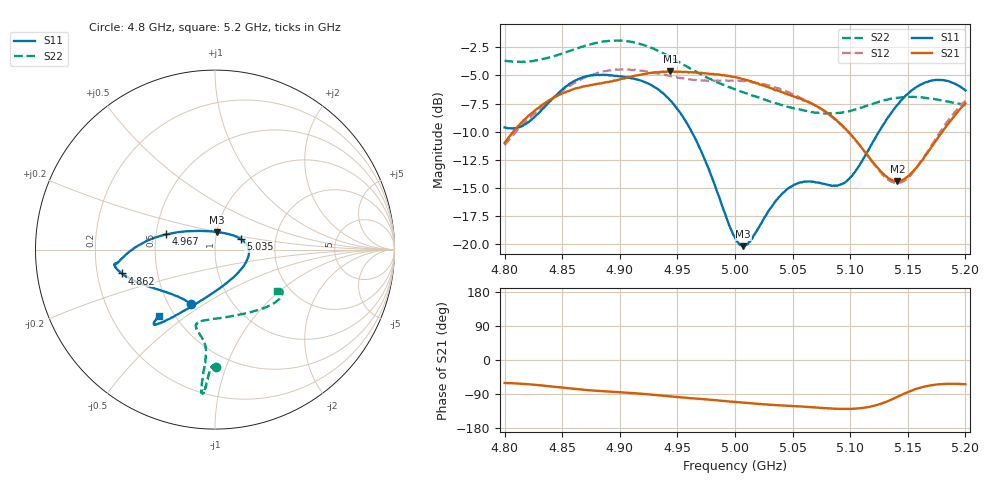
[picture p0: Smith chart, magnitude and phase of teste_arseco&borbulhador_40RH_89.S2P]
! Network Analyzer HP8722D
! Hewlett-Packard
! Data name: Linha & Wilkinson
! Saver's name: Rodrigo Anjos
! Comments: Teste da utilização de aquisição
! continua pelo VNA HP8722D
! Time and date: 15/4/2025 17:05
!  Frequency  S11  S21  S12  S22
# HZ  S  MA R 50
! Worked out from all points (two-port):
!   401 points, 4.8 GHz to 5.2 GHz, reference 50 ohm
!   highest |S21| = -4.63 dB at 4.944 GHz (marker M1); lowest = -14.4 dB at 5.141 GHz (marker M2)
!   |S21| within 3 dB of the highest: 4.832 GHz to 5.069 GHz (236.9 MHz wide, 4.79 % of centre); 5.198605 GHz to end of sweep
!   lowest |S11| = -20.2 dB at 5.007 GHz (marker M3), VSWR 1.22, Z = 50.1 + j9.87 ohm
!   |S11| at or under -10 dB: 4.962 GHz to 5.125 GHz (162.6 MHz wide, 3.22 % of centre)
!   |S22| runs from -8.4 to -1.9 dB; largest |S21 - S12| = 0.88
!   S11 on the Smith chart (normalised r, x): 4.8 GHz: 0.65, -0.44; 4.862 GHz: 0.31, -0.11; 4.967 GHz: 0.57, +0.10; 5.035 GHz: 1.32, +0.16; 5.2 GHz: 0.41, -0.40
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4.8e9  0.3306 -113.7  0.2822 -60.6  0.2754 -175.0  0.6543 -89.5
4.819e9  0.3445 -133.5  0.3649 -63.6  0.3527 -173.2  0.6483 -91.1
4.862e9  0.5358 -165.6  0.4936 -76.6  0.5256 -176.3  0.7405 -93.5
4.867e9  0.549 -167.5  0.501 -78.3  0.5422 -177.2  0.7543 -93.6
4.9e9  0.5574 -172.0  0.5404 -85.0  0.5979 175.9  0.8028 -95.0
4.934e9  0.4852 -177.9  0.5807 -93.3  0.5733 171.8  0.7194 -95.5
4.944e9  0.4351 177.6  0.5869 -96.1  0.5588 172.2  0.6789 -95.3
4.967e9  0.2845 162.7  0.5777 -102.0  0.5352 174.0  0.5807 -94.9
5e9  0.1072 107.3  0.5531 -110.9  0.5336 176.5  0.4882 -99.2
5.007e9  0.09812 83.5  0.5415 -112.5  0.5302 176.5  0.4733 -100.9
5.013e9  0.1028 64.5  0.5303 -114.2  0.5269 176.4  0.4626 -102.2
5.035e9  0.155 23.0  0.4838 -119.0  0.4975 175.1  0.4236 -103.8
5.05e9  0.182 7.2  0.4564 -121.6  0.4647 174.4  0.403 -100.4
5.067e9  0.1901 -11.2  0.4208 -124.6  0.4215 174.1  0.3869 -91.9
5.086e9  0.1825 -41.8  0.3644 -128.4  0.361 173.8  0.3817 -77.8
5.097e9  0.1907 -64.9  0.3214 -129.1  0.3217 174.6  0.3886 -68.5
5.134e9  0.3731 -116.0  0.1958 -106.7  0.1919 -159.6  0.4416 -43.4
5.141e9  0.4163 -119.9  0.1909 -96.9  0.1873 -148.8  0.4476 -40.2
5.153e9  0.4812 -124.9  0.2068 -81.0  0.2041 -130.0  0.4517 -35.9
5.17e9  0.5326 -128.5  0.2678 -66.9  0.2726 -112.9  0.4439 -32.0
5.184e9  0.5323 -129.8  0.3385 -62.9  0.3489 -107.1  0.4315 -31.1
5.2e9  0.4827 -130.3  0.4233 -64.0  0.4346 -106.0  0.4155 -33.4
